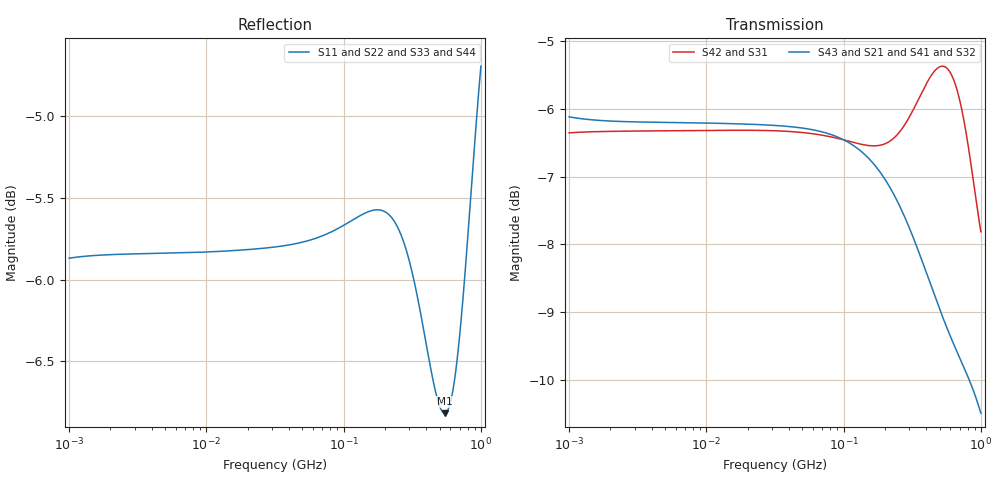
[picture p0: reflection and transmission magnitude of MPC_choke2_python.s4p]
! choke2, generic MPC with fitted values, reference from port_y
# Hz S RI R 50
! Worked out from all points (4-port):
!   601 points, 1 MHz to 1 GHz, reference 50 ohm
!   strongest paths, dB at 1 MHz, 5.623 MHz, 31.62 MHz, 177.8 MHz, 1 GHz:
!     S43: -6.1, -6.2, -6.2, -6.9, -10.5
!     S21: -6.1, -6.2, -6.2, -6.9, -10.5
!     S42: -6.4, -6.3, -6.3, -6.5, -7.8
!     S31: -6.4, -6.3, -6.3, -6.5, -7.8
!     S41: -6.4, -6.3, -6.3, -6.8, -11.3
!     S32: -6.4, -6.3, -6.3, -6.8, -11.3
!   lowest |S11| = -6.8 dB at 543.3 MHz (marker M1), VSWR 2.68, Z = 132 - j13.4 ohm
!   |S11| at or under -10 dB: nowhere
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1000000  0.5073 0.039  0.4927 -0.0421  0.4797 0.039  -0.4796 -0.0359
         0.4927 -0.0421  0.5073 0.039  -0.4796 -0.0359  0.4797 0.039
         0.4797 0.039  -0.4796 -0.0359  0.5073 0.039  0.4927 -0.0421
         -0.4796 -0.0359  0.4797 0.039  0.4927 -0.0421  0.5073 0.039
1.513561e7  0.5115 0.00293  0.4863 -0.0499  0.4833 0.00321  -0.481 0.0438
            0.4863 -0.0499  0.5115 0.00293  -0.481 0.0438  0.4833 0.00321
            0.4833 0.00321  -0.481 0.0438  0.5115 0.00293  0.4863 -0.0499
            -0.481 0.0438  0.4833 0.00321  0.4863 -0.0499  0.5115 0.00293
8.128305e7  0.5183 -0.00496  0.4182 -0.2351  0.4779 0.0034  -0.4143 0.2367
            0.4182 -0.2351  0.5183 -0.00496  -0.4143 0.2367  0.4779 0.0034
            0.4779 0.0034  -0.4143 0.2367  0.5183 -0.00496  0.4182 -0.2351
            -0.4143 0.2367  0.4779 0.0034  0.4182 -0.2351  0.5183 -0.00496
1.496236e8  0.5252 -0.021  0.2763 -0.3698  0.4708 0.0162  -0.2722 0.3746
            0.2763 -0.3698  0.5252 -0.021  -0.2722 0.3746  0.4708 0.0162
            0.4708 0.0162  -0.2722 0.3746  0.5252 -0.021  0.2763 -0.3698
            -0.2722 0.3746  0.4708 0.0162  0.2763 -0.3698  0.5252 -0.021
2.60016e8  0.5146 -0.0557  0.00151 -0.4235  0.4807 0.0465  0.00312 0.4328
           0.00151 -0.4235  0.5146 -0.0557  0.00312 0.4328  0.4807 0.0465
           0.4807 0.0465  0.00312 0.4328  0.5146 -0.0557  0.00151 -0.4235
           0.00312 0.4328  0.4807 0.0465  0.00151 -0.4235  0.5146 -0.0557
5.432503e8  0.4544 -0.04  -0.3443 -0.0572  0.5381 0.021  0.3518 0.0762
            -0.3443 -0.0572  0.4544 -0.04  0.3518 0.0762  0.5381 0.021
            0.5381 0.021  0.3518 0.0762  0.4544 -0.04  -0.3443 -0.0572
            0.3518 0.0762  0.5381 0.021  -0.3443 -0.0572  0.4544 -0.04
1e9  0.5799 -0.0547  -0.0498 0.2946  0.4061 0.0234  0.0638 -0.2633
     -0.0498 0.2946  0.5799 -0.0547  0.0638 -0.2633  0.4061 0.0234
     0.4061 0.0234  0.0638 -0.2633  0.5799 -0.0547  -0.0498 0.2946
     0.0638 -0.2633  0.4061 0.0234  -0.0498 0.2946  0.5799 -0.0547
